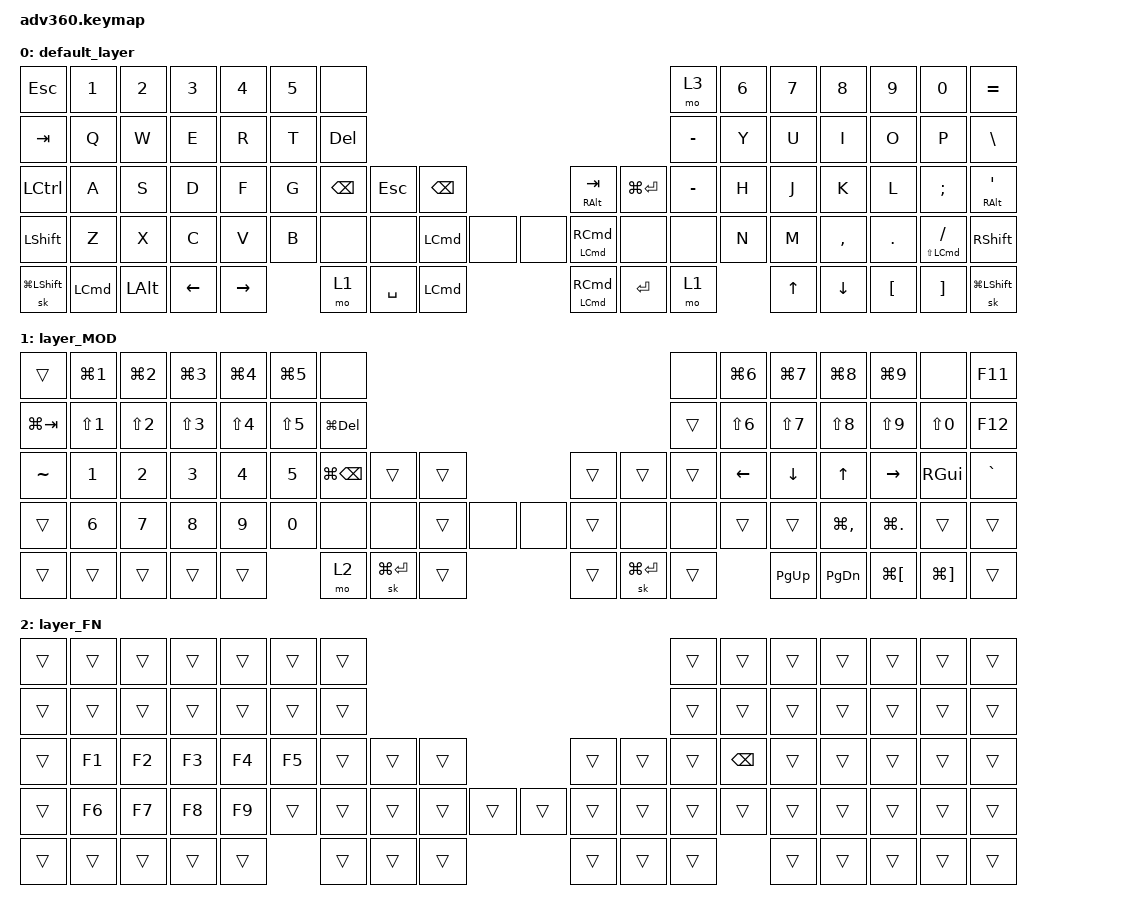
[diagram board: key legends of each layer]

/*
 * Copyright (c) 2020 The ZMK Contributors
 *
 * SPDX-License-Identifier: MIT
 */


/* THIS FILE WAS GENERATED!
 *
 * This file was generated automatically. You may or may not want to
 * edit it directly.
 */

#include <behaviors.dtsi>
#include <dt-bindings/zmk/keys.h>

/ {
  behaviors {
    #include "macros.dtsi"
    #include "version.dtsi"

    hm: homerow_mods {
        compatible = "zmk,behavior-hold-tap";
        label = "HOMEROW_MODS";
        #binding-cells = <2>;
        tapping-term-ms = <200>;
        quick_tap_ms = <175>;
        flavor = "tap-preferred";
        bindings = <&kp>, <&kp>;
    };
  };

    keymap {
        compatible = "zmk,keymap";


        default_layer {
            bindings = <
         &kp ESCAPE            &kp N1        &kp N2    &kp N3     &kp N4  &kp N5                    &none                                                                                                  &mo 3  &kp N6  &kp N7     &kp N8    &kp N9                      &kp N0           &kp EQUAL
            &kp TAB             &kp Q         &kp W     &kp E      &kp R   &kp T               &kp DELETE                                                                                              &kp MINUS   &kp Y   &kp U      &kp I     &kp O                       &kp P            &kp BSLH
   &kp LEFT_CONTROL             &kp A         &kp S     &kp D      &kp F   &kp G            &kp BACKSPACE    &kp ESC          &kp BSPC                                    &mt RALT TAB  &kp LG(ENTER)  &kp MINUS   &kp H   &kp J      &kp K     &kp L               &kp SEMICOLON        &mt RALT SQT
          &kp LSHFT             &kp Z         &kp X     &kp C      &kp V   &kp B                    &none      &none  &kp LEFT_COMMAND   &none   &none  &mt LEFT_COMMAND RIGHT_COMMAND          &none      &none   &kp N   &kp M  &kp COMMA   &kp DOT  &mt LS(LEFT_COMMAND) SLASH           &kp RSHFT
 &sk LG(LEFT_SHIFT)  &kp LEFT_COMMAND  &kp LEFT_ALT  &kp LEFT  &kp RIGHT                            &mo 1  &kp SPACE  &kp LEFT_COMMAND                  &mt LEFT_COMMAND RIGHT_COMMAND      &kp ENTER      &mo 1          &kp UP   &kp DOWN  &kp LBKT                    &kp RBKT  &sk LG(LEFT_SHIFT)
            >;
        };

        layer_MOD {
            bindings = <
      &trans  &kp LG(N1)  &kp LG(N2)  &kp LG(N3)  &kp LG(N4)  &kp LG(N5)                        &none                                                                 &none  &kp LG(N6)   &kp LG(N7)     &kp LG(N8)    &kp LG(N9)          &none    &kp F11
 &kp LG(TAB)  &kp LS(N1)  &kp LS(N2)  &kp LS(N3)  &kp LS(N4)  &kp LS(N5)                  &kp LG(DEL)                                                                &trans  &kp LS(N6)   &kp LS(N7)     &kp LS(N8)    &kp LS(N9)     &kp LS(N0)    &kp F12
   &kp TILDE      &kp N1      &kp N2      &kp N3      &kp N4      &kp N5            &kp LG(BACKSPACE)         &trans  &trans                  &trans         &trans  &trans    &kp LEFT     &kp DOWN         &kp UP     &kp RIGHT  &kp RIGHT_GUI  &kp GRAVE
      &trans      &kp N6      &kp N7      &kp N8      &kp N9      &kp N0                        &none          &none  &trans   &none   &none  &trans          &none   &none      &trans       &trans  &kp LG(COMMA)   &kp LG(DOT)         &trans     &trans
      &trans      &trans      &trans      &trans      &trans                                    &mo 2  &sk LG(ENTER)  &trans                  &trans  &sk LG(ENTER)  &trans              &kp PAGE_UP  &kp PAGE_DOWN  &kp LG(LBKT)   &kp LG(RBKT)     &trans
            >;
        };

        layer_FN {
            bindings = <
 &trans  &trans  &trans  &trans  &trans  &trans            &trans                                                  &trans    &trans  &trans  &trans  &trans  &trans  &trans
 &trans  &trans  &trans  &trans  &trans  &trans            &trans                                                  &trans    &trans  &trans  &trans  &trans  &trans  &trans
 &trans  &kp F1  &kp F2  &kp F3  &kp F4  &kp F5            &trans  &trans  &trans                  &trans  &trans  &trans  &kp BSPC  &trans  &trans  &trans  &trans  &trans
 &trans  &kp F6  &kp F7  &kp F8  &kp F9  &trans            &trans  &trans  &trans  &trans  &trans  &trans  &trans  &trans    &trans  &trans  &trans  &trans  &trans  &trans
 &trans  &trans  &trans  &trans  &trans                    &trans  &trans  &trans                  &trans  &trans  &trans            &trans  &trans  &trans  &trans  &trans
            >;
        };

    };
};
